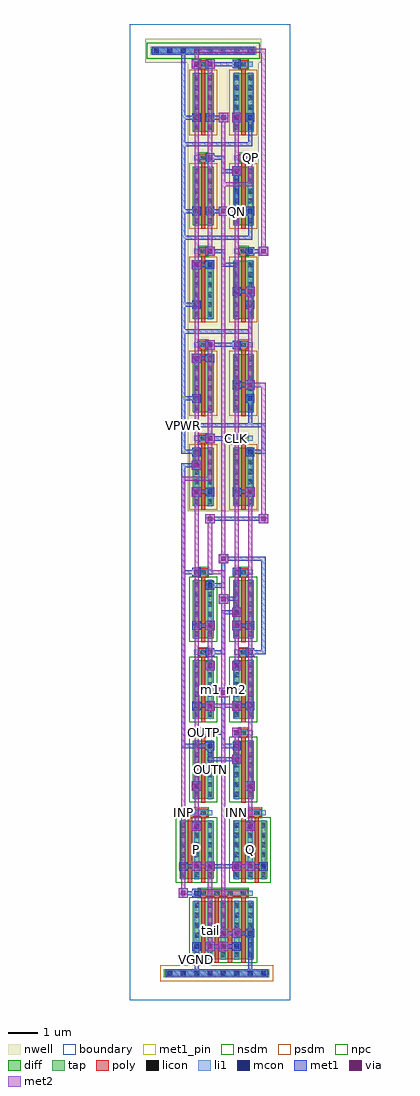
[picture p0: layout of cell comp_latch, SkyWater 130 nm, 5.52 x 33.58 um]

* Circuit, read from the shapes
.subckt comp_latch CLK INN INP OUTN OUTP P Q QN QP VGND VPWR m1 m2 tail
XM1 P INP tail VGND sky130_fd_pr__nfet_01v8 w=2 l=0.15 m=2
XM2 tail CLK VGND VGND sky130_fd_pr__nfet_01v8 w=2 l=0.15 m=4
XM3 OUTN OUTP P VGND sky130_fd_pr__nfet_01v8 w=2 l=0.15
XM4 m1 QN VGND VGND sky130_fd_pr__nfet_01v8 w=2 l=0.15
XM5 QP OUTN m1 VGND sky130_fd_pr__nfet_01v8 w=2 l=0.15
XM6 Q INN tail VGND sky130_fd_pr__nfet_01v8 w=2 l=0.15 m=2
XM7 Q OUTN OUTP VGND sky130_fd_pr__nfet_01v8 w=2 l=0.15
XM8 VGND QP m2 VGND sky130_fd_pr__nfet_01v8 w=2 l=0.15
XM9 m2 OUTP QN VGND sky130_fd_pr__nfet_01v8 w=2 l=0.15
XM10 P CLK VPWR VPWR sky130_fd_pr__pfet_01v8 w=2 l=0.15
XM11 OUTN CLK VPWR VPWR sky130_fd_pr__pfet_01v8 w=2 l=0.15
XM12 OUTN OUTP VPWR VPWR sky130_fd_pr__pfet_01v8 w=2 l=0.15
XM13 QP QN VPWR VPWR sky130_fd_pr__pfet_01v8 w=2 l=0.15
XM14 QP OUTN VPWR VPWR sky130_fd_pr__pfet_01v8 w=2 l=0.15
XM15 VPWR CLK Q VPWR sky130_fd_pr__pfet_01v8 w=2 l=0.15
XM16 VPWR CLK OUTP VPWR sky130_fd_pr__pfet_01v8 w=2 l=0.15
XM17 VPWR OUTN OUTP VPWR sky130_fd_pr__pfet_01v8 w=2 l=0.15
XM18 VPWR QP QN VPWR sky130_fd_pr__pfet_01v8 w=2 l=0.15
XM19 VPWR OUTP QN VPWR sky130_fd_pr__pfet_01v8 w=2 l=0.15
.ends

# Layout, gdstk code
import gdstk
lib = gdstk.Library(unit=1e-6, precision=1e-09)
def R(c, l, rs):  # rectangles x0, y0, x1, y1
    for r in rs: c.add(gdstk.rectangle(r[:2], r[2:], *l))
def A(c, l, x, y, w, h, nx, ny, dx, dy):  # array of equal rectangles
    R(c, l, [(x+i*dx, y+j*dy, x+i*dx+w, y+j*dy+h) for i in range(nx) for j in range(ny)])
nwell = (64, 20)
diff = (65, 20)
tap = (65, 44)
poly = (66, 20)
licon = (66, 44)
li1 = (67, 20)
mcon = (67, 44)
met1_pin = (68, 16)
met1 = (68, 20)
via = (68, 44)
met2 = (69, 20)
nsdm = (93, 44)
psdm = (94, 20)
npc = (95, 20)
boundary = (235, 4)

comp_latch = lib.new_cell('comp_latch')
R(comp_latch, nwell, [(1.995,16.82,4.445,32.24), (0.535,32.24,4.525,33.08)])
A(comp_latch, diff, 2.175, 6.925, 0.71, 2, 1, 3, 0, 2.76)
A(comp_latch, diff, 3.555, 6.925, 0.71, 2, 1, 3, 0, 2.76)
A(comp_latch, diff, 2.175, 17, 0.71, 2, 1, 5, 0, 3.22)
A(comp_latch, diff, 3.555, 17, 0.71, 2, 1, 5, 0, 3.22)
R(comp_latch, diff, [(2.175,1.405,4.265,3.405), (1.715,4.165,2.885,6.165), (3.555,4.165,4.725,6.165)])
R(comp_latch, tap, [(1.175,0.775,4.805,1.065), (0.715,32.515,4.345,32.805)])
A(comp_latch, poly, 2.455, 1.275, 0.15, 2.405, 4, 1, 0.46, 0)
A(comp_latch, poly, 2.455, 4.035, 0.15, 2.405, 1, 4, 0, 2.76)
A(comp_latch, poly, 3.835, 4.035, 0.15, 2.405, 1, 4, 0, 2.76)
A(comp_latch, poly, 2.365, 9.065, 0.33, 0.27, 1, 3, 0, 2.76)
A(comp_latch, poly, 3.745, 9.065, 0.33, 0.27, 1, 3, 0, 2.76)
A(comp_latch, poly, 2.455, 16.87, 0.15, 2.45, 1, 5, 0, 3.22)
A(comp_latch, poly, 3.835, 16.87, 0.15, 2.45, 1, 5, 0, 3.22)
A(comp_latch, poly, 2.365, 19.185, 0.33, 0.27, 1, 5, 0, 3.22)
A(comp_latch, poly, 3.745, 19.185, 0.33, 0.27, 1, 5, 0, 3.22)
R(comp_latch, poly, [(2.365,3.545,4.075,3.815), (1.995,4.035,2.145,6.44), (4.295,4.035,4.445,6.44), (1.905,6.305,2.695,6.575), (3.745,6.305,4.535,6.575)])
A(comp_latch, licon, 1.295, 0.835, 0.17, 0.17, 8, 1, 0.46, 0)
A(comp_latch, licon, 2.215, 1.47, 0.17, 0.17, 5, 6, 0.46, 0.34)
A(comp_latch, licon, 2.445, 3.595, 0.17, 0.17, 4, 1, 0.46, 0)
A(comp_latch, licon, 1.755, 4.23, 0.17, 0.17, 3, 6, 0.46, 0.34)
A(comp_latch, licon, 3.595, 4.23, 0.17, 0.17, 3, 6, 0.46, 0.34)
A(comp_latch, licon, 2.445, 6.355, 0.17, 0.17, 1, 4, 0, 2.76)
A(comp_latch, licon, 3.825, 6.355, 0.17, 0.17, 1, 4, 0, 2.76)
A(comp_latch, licon, 2.215, 6.99, 0.17, 0.17, 1, 6, 0, 0.34)
A(comp_latch, licon, 2.675, 6.99, 0.17, 0.17, 1, 6, 0, 0.34)
A(comp_latch, licon, 3.595, 6.99, 0.17, 0.17, 1, 6, 0, 0.34)
A(comp_latch, licon, 4.055, 6.99, 0.17, 0.17, 1, 6, 0, 0.34)
A(comp_latch, licon, 2.215, 9.75, 0.17, 0.17, 1, 6, 0, 0.34)
A(comp_latch, licon, 2.675, 9.75, 0.17, 0.17, 1, 6, 0, 0.34)
A(comp_latch, licon, 3.595, 9.75, 0.17, 0.17, 1, 6, 0, 0.34)
A(comp_latch, licon, 4.055, 9.75, 0.17, 0.17, 1, 6, 0, 0.34)
A(comp_latch, licon, 2.215, 12.51, 0.17, 0.17, 1, 6, 0, 0.34)
A(comp_latch, licon, 2.675, 12.51, 0.17, 0.17, 1, 6, 0, 0.34)
A(comp_latch, licon, 3.595, 12.51, 0.17, 0.17, 1, 6, 0, 0.34)
A(comp_latch, licon, 4.055, 12.51, 0.17, 0.17, 1, 6, 0, 0.34)
A(comp_latch, licon, 2.215, 17.065, 0.17, 0.17, 1, 6, 0, 0.34)
A(comp_latch, licon, 2.675, 17.065, 0.17, 0.17, 1, 6, 0, 0.34)
A(comp_latch, licon, 3.595, 17.065, 0.17, 0.17, 1, 6, 0, 0.34)
A(comp_latch, licon, 4.055, 17.065, 0.17, 0.17, 1, 6, 0, 0.34)
A(comp_latch, licon, 2.445, 19.235, 0.17, 0.17, 1, 5, 0, 3.22)
A(comp_latch, licon, 3.825, 19.235, 0.17, 0.17, 1, 5, 0, 3.22)
A(comp_latch, licon, 2.215, 20.285, 0.17, 0.17, 1, 6, 0, 0.34)
A(comp_latch, licon, 2.675, 20.285, 0.17, 0.17, 1, 6, 0, 0.34)
A(comp_latch, licon, 3.595, 20.285, 0.17, 0.17, 1, 6, 0, 0.34)
A(comp_latch, licon, 4.055, 20.285, 0.17, 0.17, 1, 6, 0, 0.34)
A(comp_latch, licon, 2.215, 23.505, 0.17, 0.17, 1, 6, 0, 0.34)
A(comp_latch, licon, 2.675, 23.505, 0.17, 0.17, 1, 6, 0, 0.34)
A(comp_latch, licon, 3.595, 23.505, 0.17, 0.17, 1, 6, 0, 0.34)
A(comp_latch, licon, 4.055, 23.505, 0.17, 0.17, 1, 6, 0, 0.34)
A(comp_latch, licon, 2.215, 26.725, 0.17, 0.17, 1, 6, 0, 0.34)
A(comp_latch, licon, 2.675, 26.725, 0.17, 0.17, 1, 6, 0, 0.34)
A(comp_latch, licon, 3.595, 26.725, 0.17, 0.17, 1, 6, 0, 0.34)
A(comp_latch, licon, 4.055, 26.725, 0.17, 0.17, 1, 6, 0, 0.34)
A(comp_latch, licon, 2.215, 29.945, 0.17, 0.17, 1, 6, 0, 0.34)
A(comp_latch, licon, 2.675, 29.945, 0.17, 0.17, 1, 6, 0, 0.34)
A(comp_latch, licon, 3.595, 29.945, 0.17, 0.17, 1, 6, 0, 0.34)
A(comp_latch, licon, 4.055, 29.945, 0.17, 0.17, 1, 6, 0, 0.34)
A(comp_latch, licon, 0.835, 32.575, 0.17, 0.17, 8, 1, 0.46, 0)
R(comp_latch, licon, [(1.985,6.355,2.155,6.525), (4.285,6.355,4.455,6.525)])
A(comp_latch, li1, 2.215, 1.39, 0.17, 2.03, 5, 1, 0.46, 0)
A(comp_latch, li1, 1.755, 4.15, 0.17, 2.03, 3, 1, 0.46, 0)
A(comp_latch, li1, 3.595, 4.15, 0.17, 2.03, 3, 1, 0.46, 0)
A(comp_latch, li1, 2.215, 6.91, 0.17, 2.03, 1, 3, 0, 2.76)
A(comp_latch, li1, 2.675, 6.91, 0.17, 2.03, 1, 3, 0, 2.76)
A(comp_latch, li1, 3.595, 6.91, 0.17, 2.03, 1, 3, 0, 2.76)
A(comp_latch, li1, 4.055, 6.91, 0.17, 2.03, 1, 3, 0, 2.76)
A(comp_latch, li1, 2.215, 9.115, 0.63, 0.17, 1, 3, 0, 2.76)
A(comp_latch, li1, 3.595, 9.115, 0.63, 0.17, 1, 3, 0, 2.76)
A(comp_latch, li1, 2.215, 16.985, 0.17, 2.03, 1, 5, 0, 3.22)
A(comp_latch, li1, 2.675, 16.985, 0.17, 2.03, 1, 5, 0, 3.22)
A(comp_latch, li1, 3.595, 16.985, 0.17, 2.03, 1, 5, 0, 3.22)
A(comp_latch, li1, 4.055, 16.985, 0.17, 2.03, 1, 5, 0, 3.22)
A(comp_latch, li1, 2.215, 19.235, 0.63, 0.17, 1, 5, 0, 3.22)
A(comp_latch, li1, 3.595, 19.235, 0.63, 0.17, 1, 5, 0, 3.22)
R(comp_latch, li1, [(1.215,0.835,4.765,1.005), (2.215,3.595,4.225,3.765), (1.755,6.355,2.845,6.525), (3.595,6.355,4.685,6.525), (0.755,32.575,4.305,32.745)])
A(comp_latch, mcon, 1.295, 0.835, 0.17, 0.17, 8, 1, 0.46, 0)
A(comp_latch, mcon, 1.755, 4.515, 0.17, 0.17, 4, 1, 0.92, 0)
A(comp_latch, mcon, 2.215, 7.275, 0.17, 0.17, 1, 3, 0, 2.76)
A(comp_latch, mcon, 3.595, 17.395, 0.17, 0.17, 1, 3, 0, 1.84)
A(comp_latch, mcon, 2.215, 20.615, 0.17, 0.17, 1, 4, 0, 3.22)
A(comp_latch, mcon, 0.835, 32.575, 0.17, 0.17, 8, 1, 0.46, 0)
R(comp_latch, mcon, [(2.215,1.755,2.385,1.925), (2.675,1.755,2.845,1.925), (3.595,1.755,3.765,1.925), (3.135,2.215,3.305,2.385), (4.055,2.215,4.225,2.385), (2.215,3.595,2.385,3.765), (2.215,5.895,2.385,6.065), (4.055,5.895,4.225,6.065), (1.755,6.355,1.925,6.525), (3.595,6.355,3.765,6.525), (4.055,7.275,4.225,7.445), (2.675,8.655,2.845,8.825), (3.595,8.655,3.765,8.825), (2.675,9.115,2.845,9.285), (3.595,9.115,3.765,9.285), (4.055,10.035,4.225,10.205), (2.675,11.415,2.845,11.585), (3.595,11.415,3.765,11.585), (2.675,11.875,2.845,12.045), (4.055,11.875,4.225,12.045), (4.055,12.795,4.225,12.965), (3.595,13.255,3.765,13.425), (2.675,14.175,2.845,14.345), (2.215,14.635,2.385,14.805), (3.595,14.635,3.765,14.805), (2.675,17.395,2.845,17.565), (2.215,18.775,2.385,18.945), (4.055,18.775,4.225,18.945), (2.675,19.235,2.845,19.405), (4.055,20.615,4.225,20.785), (2.675,21.995,2.845,22.165), (2.675,22.455,2.845,22.625), (3.595,22.455,3.765,22.625), (4.055,23.835,4.225,24.005), (3.595,24.295,3.765,24.465), (2.675,25.215,2.845,25.385), (2.675,25.675,2.845,25.845), (4.055,25.675,4.225,25.845), (2.675,27.055,2.845,27.225), (3.595,27.055,3.765,27.225), (4.055,27.055,4.225,27.225), (2.675,28.895,2.845,29.065), (4.055,28.895,4.225,29.065), (2.675,30.275,2.845,30.445), (3.595,30.275,3.765,30.445), (4.055,30.275,4.225,30.445), (2.215,32.115,2.385,32.285), (3.595,32.115,3.765,32.285)])
R(comp_latch, met1_pin, [(2.23,0.85,2.37,1.91), (1.695,6.295,1.985,6.585), (3.535,6.295,3.825,6.585), (1.77,18.79,1.91,20.77), (3.535,19.175,3.825,19.465), (3.52,26.98,3.84,27.3), (3.995,28.835,4.285,29.125)])
A(comp_latch, met1, 2.14, 4.44, 0.32, 0.32, 1, 3, 0, 1.38)
A(comp_latch, met1, 3.98, 4.44, 0.32, 0.32, 1, 3, 0, 1.38)
A(comp_latch, met1, 1.695, 4.455, 0.29, 0.29, 4, 1, 0.92, 0)
A(comp_latch, met1, 2.155, 7.215, 0.29, 0.29, 1, 3, 0, 2.76)
A(comp_latch, met1, 3.52, 8.12, 0.32, 0.32, 1, 3, 0, 0.92)
A(comp_latch, met1, 2.6, 9.96, 0.32, 0.32, 1, 3, 0, 1.38)
A(comp_latch, met1, 2.23, 12.81, 0.6, 0.14, 1, 3, 0, 4.6)
A(comp_latch, met1, 3.535, 17.335, 0.29, 0.29, 1, 3, 0, 1.84)
A(comp_latch, met1, 2.6, 19.16, 0.32, 0.32, 1, 3, 0, 3.22)
A(comp_latch, met1, 1.77, 19.71, 2.44, 0.14, 1, 4, 0, 3.22)
A(comp_latch, met1, 4.07, 19.71, 0.14, 1.06, 1, 4, 0, 3.22)
A(comp_latch, met1, 2.155, 20.555, 0.29, 0.29, 1, 4, 0, 3.22)
A(comp_latch, met1, 1.77, 20.63, 0.6, 0.14, 1, 4, 0, 3.22)
A(comp_latch, met1, 1.77, 20.63, 0.14, 3.36, 1, 3, 0, 3.22)
R(comp_latch, met1, [(1.235,0.775,4.745,1.065), (2.23,0.85,2.37,1.91), (2.23,0.85,4.21,0.99), (4.07,0.85,4.21,0.99), (4.07,0.85,4.21,2.37), (2.6,1.68,2.92,2), (3.06,1.68,3.38,2), (2.155,1.695,2.445,1.985), (2.615,1.695,2.905,1.985), (3.535,1.695,3.825,1.985), (3.15,1.77,3.75,1.91), (3.06,2.14,3.38,2.46), (3.52,2.14,3.84,2.46), (3.075,2.155,3.365,2.445), (3.995,2.155,4.285,2.445), (3.61,2.23,4.21,2.37), (1.68,3.52,2,3.84), (2.155,3.535,2.445,3.825), (1.77,3.61,2.37,3.75), (2.6,4.44,2.92,4.76), (3.52,4.44,3.84,4.76), (1.77,4.53,2.37,4.67), (2.69,4.53,3.75,4.67), (4.07,4.53,4.67,4.67), (2.155,5.835,2.445,6.125), (3.995,5.835,4.285,6.125), (1.695,6.295,1.985,6.585), (3.535,6.295,3.825,6.585), (3.995,7.215,4.285,7.505), (2.69,8.21,3.75,8.35), (2.69,8.21,2.83,8.81), (2.615,8.595,2.905,8.885), (3.535,8.595,3.825,8.885), (1.77,8.67,2.83,8.81), (1.77,8.67,1.91,14.79), (3.15,8.67,3.75,8.81), (3.15,8.67,3.29,9.27), (2.615,9.055,2.905,9.345), (3.535,9.055,3.825,9.345), (2.69,9.13,3.29,9.27), (3.15,9.13,3.29,10.65), (3.995,9.975,4.285,10.265), (2.23,10.05,2.83,10.19), (3.61,10.05,4.21,10.19), (3.06,10.42,3.38,10.74), (3.52,11.34,3.84,11.66), (2.615,11.355,2.905,11.645), (3.535,11.355,3.825,11.645), (2.615,11.815,2.905,12.105), (3.995,11.815,4.285,12.105), (2.69,11.89,3.29,12.03), (3.15,11.89,3.29,13.41), (4.07,11.89,4.67,12.03), (4.53,11.89,4.67,15.25), (3.52,12.72,3.84,13.04), (3.995,12.735,4.285,13.025), (3.61,12.81,4.21,12.95), (3.52,13.18,3.84,13.5), (3.535,13.195,3.825,13.485), (3.15,13.27,3.75,13.41), (3.06,13.64,3.38,13.96), (3.15,13.73,3.75,13.87), (3.61,13.73,3.75,14.79), (2.615,14.115,2.905,14.405), (2.69,14.19,3.29,14.33), (3.15,14.19,3.29,15.25), (2.155,14.575,2.445,14.865), (3.535,14.575,3.825,14.865), (1.77,14.65,1.91,18.47), (1.77,14.65,2.37,14.79), (3.06,15.02,3.38,15.34), (3.15,15.11,4.67,15.25), (2.6,16.4,2.92,16.72), (4.44,16.4,4.76,16.72), (2.69,16.49,4.67,16.63), (2.14,17.32,2.46,17.64), (3.98,17.32,4.3,17.64), (2.615,17.335,2.905,17.625), (3.61,17.41,4.21,17.55), (2.14,18.24,2.46,18.56), (1.77,18.33,2.37,18.47), (2.155,18.715,2.445,19.005), (3.995,18.715,4.285,19.005), (1.77,18.79,2.37,18.93), (1.77,18.79,1.91,20.77), (4.07,18.79,4.67,18.93), (4.53,18.79,4.67,19.85), (2.615,19.175,2.905,19.465), (2.69,19.25,3.75,19.39), (4.07,19.71,4.67,19.85), (3.995,20.555,4.285,20.845), (3.98,21,4.3,21.32), (3.61,21.09,4.21,21.23), (2.14,21.92,2.46,22.24), (2.615,21.935,2.905,22.225), (2.615,22.395,2.905,22.685), (3.535,22.395,3.825,22.685), (2.69,22.47,3.75,22.61), (3.995,23.775,4.285,24.065), (3.98,24.22,4.3,24.54), (3.535,24.235,3.825,24.525), (3.61,24.31,4.21,24.45), (3.61,24.31,3.75,25.37), (2.14,25.14,2.46,25.46), (2.615,25.155,2.905,25.445), (2.23,25.23,2.83,25.37), (3.15,25.23,3.75,25.37), (3.15,25.23,3.29,25.83), (4.44,25.6,4.76,25.92), (2.615,25.615,2.905,25.905), (3.995,25.615,4.285,25.905), (2.69,25.69,3.29,25.83), (4.07,25.69,4.67,25.83), (3.06,26.98,3.38,27.3), (3.52,26.98,3.84,27.3), (2.615,26.995,2.905,27.285), (3.535,26.995,3.825,27.285), (3.995,26.995,4.285,27.285), (2.69,27.07,3.29,27.21), (3.61,27.07,3.75,28.59), (3.52,28.36,3.84,28.68), (3.15,28.45,3.75,28.59), (3.15,28.45,3.29,29.05), (3.98,28.82,4.3,29.14), (2.615,28.835,2.905,29.125), (3.995,28.835,4.285,29.125), (2.69,28.91,3.29,29.05), (3.06,30.2,3.38,30.52), (3.52,30.2,3.84,30.52), (2.615,30.215,2.905,30.505), (3.535,30.215,3.825,30.505), (3.995,30.215,4.285,30.505), (1.77,30.29,1.91,32.73), (2.69,30.29,3.29,30.43), (2.14,32.04,2.46,32.36), (2.6,32.04,2.92,32.36), (2.155,32.055,2.445,32.345), (3.535,32.055,3.825,32.345), (2.69,32.13,3.75,32.27), (0.775,32.515,4.285,32.805), (1.77,32.59,1.91,32.73)])
A(comp_latch, via, 2.225, 4.525, 0.15, 0.15, 1, 3, 0, 1.38)
A(comp_latch, via, 4.065, 4.525, 0.15, 0.15, 1, 3, 0, 1.38)
A(comp_latch, via, 3.605, 8.205, 0.15, 0.15, 1, 3, 0, 0.92)
A(comp_latch, via, 2.685, 10.045, 0.15, 0.15, 1, 3, 0, 1.38)
A(comp_latch, via, 2.685, 19.245, 0.15, 0.15, 1, 3, 0, 3.22)
R(comp_latch, via, [(2.685,1.765,2.835,1.915), (3.145,1.765,3.295,1.915), (3.145,2.225,3.295,2.375), (3.605,2.225,3.755,2.375), (1.765,3.605,1.915,3.755), (2.685,4.525,2.835,4.675), (3.605,4.525,3.755,4.675), (3.145,10.505,3.295,10.655), (3.605,11.425,3.755,11.575), (3.605,12.805,3.755,12.955), (3.605,13.265,3.755,13.415), (3.145,13.725,3.295,13.875), (3.145,15.105,3.295,15.255), (2.685,16.485,2.835,16.635), (4.525,16.485,4.675,16.635), (2.225,17.405,2.375,17.555), (4.065,17.405,4.215,17.555), (2.225,18.325,2.375,18.475), (4.065,21.085,4.215,21.235), (2.225,22.005,2.375,22.155), (4.065,24.305,4.215,24.455), (2.225,25.225,2.375,25.375), (4.525,25.685,4.675,25.835), (3.145,27.065,3.295,27.215), (3.605,27.065,3.755,27.215), (3.605,28.445,3.755,28.595), (4.065,28.905,4.215,29.055), (3.145,30.285,3.295,30.435), (3.605,30.285,3.755,30.435), (2.225,32.125,2.375,32.275), (2.685,32.125,2.835,32.275)])
A(comp_latch, met2, 2.14, 4.44, 0.32, 0.32, 1, 3, 0, 1.38)
A(comp_latch, met2, 3.98, 4.44, 0.32, 0.32, 1, 3, 0, 1.38)
A(comp_latch, met2, 3.52, 8.12, 0.32, 0.32, 1, 3, 0, 0.92)
A(comp_latch, met2, 2.6, 9.96, 0.32, 0.32, 1, 3, 0, 1.38)
A(comp_latch, met2, 2.6, 19.16, 0.32, 0.32, 1, 3, 0, 3.22)
R(comp_latch, met2, [(2.6,1.68,2.92,2), (3.06,1.68,3.38,2), (2.69,1.77,3.29,1.91), (2.69,1.77,2.83,4.67), (3.06,2.14,3.38,2.46), (3.52,2.14,3.84,2.46), (3.15,2.23,3.75,2.37), (3.15,2.23,3.29,10.19), (1.68,3.52,2,3.84), (1.77,3.61,1.91,18.01), (2.6,4.44,2.92,4.76), (3.52,4.44,3.84,4.76), (2.23,4.53,2.83,4.67), (3.61,4.53,4.21,4.67), (2.23,5.91,2.37,7.43), (4.07,5.91,4.21,7.43), (2.23,7.29,2.37,17.55), (4.07,7.29,4.21,17.55), (3.61,8.21,3.75,9.27), (2.69,10.05,3.29,10.19), (3.15,10.05,3.75,10.19), (3.06,10.42,3.38,10.74), (3.15,10.51,3.29,13.87), (3.52,11.34,3.84,11.66), (2.69,11.43,2.83,12.95), (3.61,11.43,3.75,12.95), (3.52,12.72,3.84,13.04), (3.52,13.18,3.84,13.5), (3.61,13.27,3.75,27.21), (3.06,13.64,3.38,13.96), (3.15,13.73,3.29,14.79), (2.69,14.65,3.29,14.79), (2.69,14.65,2.83,16.63), (3.06,15.02,3.38,15.34), (3.15,15.11,3.29,27.21), (2.6,16.4,2.92,16.72), (4.44,16.4,4.76,16.72), (4.53,16.49,4.67,21.23), (2.14,17.32,2.46,17.64), (3.98,17.32,4.3,17.64), (1.77,17.87,2.83,18.01), (2.69,17.87,2.83,19.39), (2.14,18.24,2.46,18.56), (2.23,18.33,2.37,22.15), (2.69,19.25,2.83,22.61), (3.98,21,4.3,21.32), (4.07,21.09,4.67,21.23), (4.07,21.09,4.21,24.45), (2.14,21.92,2.46,22.24), (2.23,22.01,2.37,25.37), (3.98,24.22,4.3,24.54), (2.14,25.14,2.46,25.46), (2.23,25.23,2.37,32.27), (4.44,25.6,4.76,25.92), (2.69,25.69,2.83,32.27), (4.53,25.69,4.67,32.73), (3.06,26.98,3.38,27.3), (3.52,26.98,3.84,27.3), (3.15,27.07,3.29,28.13), (3.15,27.99,4.21,28.13), (3.15,27.99,3.29,30.43), (4.07,27.99,4.21,29.05), (3.52,28.36,3.84,28.68), (3.61,28.45,3.75,30.43), (3.98,28.82,4.3,29.14), (3.06,30.2,3.38,30.52), (3.52,30.2,3.84,30.52), (2.14,32.04,2.46,32.36), (2.6,32.04,2.92,32.36), (2.23,32.13,2.37,32.73), (2.23,32.59,4.67,32.73)])
A(comp_latch, nsdm, 2.05, 6.8, 0.96, 2.25, 1, 3, 0, 2.76)
A(comp_latch, nsdm, 3.43, 6.8, 0.96, 2.25, 1, 3, 0, 2.76)
R(comp_latch, nsdm, [(2.05,1.28,4.39,3.53), (1.59,4.04,3.01,6.29), (3.43,4.04,4.85,6.29), (0.59,32.39,4.47,32.93)])
A(comp_latch, psdm, 2.05, 16.875, 0.96, 2.25, 1, 5, 0, 3.22)
A(comp_latch, psdm, 3.43, 16.875, 0.96, 2.25, 1, 5, 0, 3.22)
R(comp_latch, psdm, [(1.05,0.65,4.93,1.19)])
A(comp_latch, npc, 2.345, 9.015, 0.37, 0.37, 1, 3, 0, 2.76)
A(comp_latch, npc, 3.725, 9.015, 0.37, 0.37, 1, 3, 0, 2.76)
A(comp_latch, npc, 2.345, 19.135, 0.37, 0.37, 1, 5, 0, 3.22)
A(comp_latch, npc, 3.725, 19.135, 0.37, 0.37, 1, 5, 0, 3.22)
R(comp_latch, npc, [(2.345,3.495,4.095,3.865), (1.885,6.255,2.715,6.625), (3.725,6.255,4.555,6.625)])
R(comp_latch, boundary, [(0,0,5.52,33.58)])
comp_latch.add(gdstk.Label('tail', (2.76,2.405), layer=67, texttype=5))
comp_latch.add(gdstk.Label('P', (2.3,5.165), layer=67, texttype=5))
comp_latch.add(gdstk.Label('Q', (4.14,5.165), layer=67, texttype=5))
comp_latch.add(gdstk.Label('OUTP', (2.53,9.2), layer=67, texttype=5))
comp_latch.add(gdstk.Label('OUTN', (2.76,7.925), layer=67, texttype=5))
comp_latch.add(gdstk.Label('m1', (2.76,10.685), layer=67, texttype=5))
comp_latch.add(gdstk.Label('m2', (3.68,10.685), layer=67, texttype=5))
comp_latch.add(gdstk.Label('CLK', (3.68,19.32), layer=68, texttype=5))
comp_latch.add(gdstk.Label('INP', (1.84,6.44), layer=68, texttype=5))
comp_latch.add(gdstk.Label('INN', (3.68,6.44), layer=68, texttype=5))
comp_latch.add(gdstk.Label('QP', (4.14,28.98), layer=68, texttype=5))
comp_latch.add(gdstk.Label('QN', (3.68,27.14), layer=68, texttype=5))
comp_latch.add(gdstk.Label('VPWR', (1.84,19.78), layer=68, texttype=5))
comp_latch.add(gdstk.Label('VGND', (2.3,1.38), layer=68, texttype=5))
comp_latch.add(gdstk.Label('CLK', (3.68,19.32), layer=68, texttype=16))
comp_latch.add(gdstk.Label('INP', (1.84,6.44), layer=68, texttype=16))
comp_latch.add(gdstk.Label('INN', (3.68,6.44), layer=68, texttype=16))
comp_latch.add(gdstk.Label('QP', (4.14,28.98), layer=68, texttype=16))
comp_latch.add(gdstk.Label('QN', (3.68,27.14), layer=68, texttype=16))
comp_latch.add(gdstk.Label('VPWR', (1.84,19.78), layer=68, texttype=16))
comp_latch.add(gdstk.Label('VGND', (2.3,1.38), layer=68, texttype=16))

lib.write_gds('comp_latch.gds')
